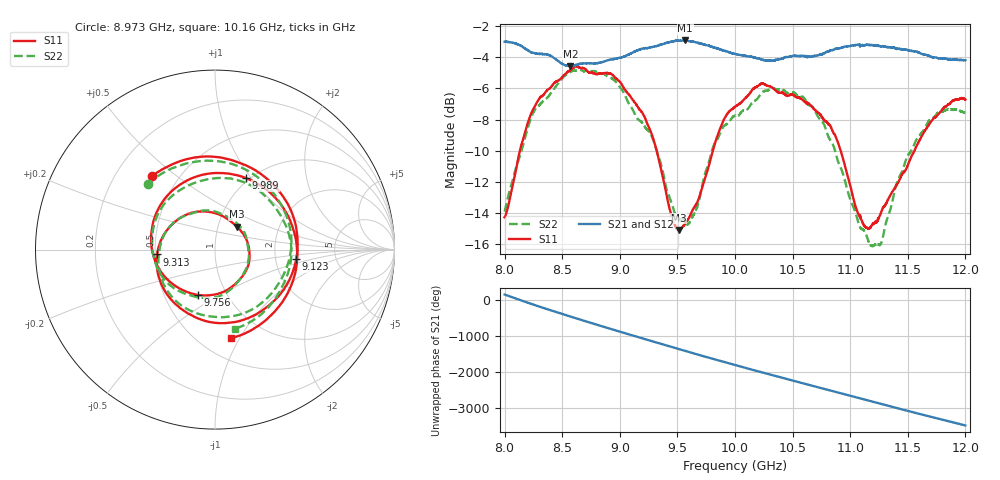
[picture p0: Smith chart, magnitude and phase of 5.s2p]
!Agilent Technologies,E8362C,MY49020356,A.09.42.23
!Agilent E8362C: A.09.42.23
!Date: Wednesday, December 03, 2025 18:15:46
!Correction: S11(Full 2 Port(1,2))
!S21(Full 2 Port(1,2))
!S12(Full 2 Port(1,2))
!S22(Full 2 Port(1,2))
!S2P File: Measurements: S11, S21, S12, S22:
# Hz S  dB  R 50
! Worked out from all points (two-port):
!   6401 points, 8 GHz to 12 GHz, reference 50 ohm
!   highest |S21| = -2.91 dB at 9.568 GHz (marker M1); lowest = -4.6 dB at 8.571 GHz (marker M2)
!   |S21| within 3 dB of the highest: start of sweep to end of sweep
!   lowest |S11| = -15.1 dB at 9.511 GHz (marker M3), VSWR 1.43, Z = 61.5 + j16.2 ohm
!   |S11| at or under -10 dB: start of sweep to 8.133 GHz; 9.32 GHz to 9.808 GHz (487.3 MHz wide, 5.1 % of centre); 10.92 GHz to 11.56 GHz (640.4 MHz wide, 5.7 % of centre)
!   |S22| runs from -16.1 to -4.8 dB; largest |S21 - S12| = 0.015
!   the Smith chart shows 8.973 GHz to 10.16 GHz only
!   S11 on the Smith chart (normalised r, x): 8.973 GHz: 0.36, +0.41; 9.123 GHz: 2.62, -0.35; 9.313 GHz: 0.51, -0.03; 9.756 GHz: 0.74, -0.40; 9.989 GHz: 0.96, +0.94; 10.16 GHz: 0.70, -0.92
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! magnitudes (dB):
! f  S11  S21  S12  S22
! 8 GHz  -14.3  -3.0  -3.0  -13.9
! 8.237 GHz  -7.5  -3.7  -3.6  -7.7
! 8.571 GHz  -4.8  -4.6  -4.6  -4.9
! 8.667 GHz  -4.7  -4.4  -4.4  -4.8
! 8.973 GHz  -5.4  -4.1  -4.1  -5.6
! 9.123 GHz  -6.8  -3.7  -3.7  -7.5
! 9.313 GHz  -9.8  -3.3  -3.3  -9.8
! 9.334 GHz  -10.4  -3.2  -3.3  -10.4
! 9.511 GHz  -15.1  -2.9  -3.0  -14.4
! 9.568 GHz  -14.7  -2.9  -2.9  -14.6
! 9.756 GHz  -11.4  -3.2  -3.3  -11.1
! 9.989 GHz  -7.2  -3.8  -3.8  -7.8
! 10 GHz  -7.2  -3.8  -3.8  -7.8
! 10.16 GHz  -6.0  -4.0  -4.0  -6.8
! 10.33 GHz  -6.0  -4.2  -4.3  -6.0
! 10.67 GHz  -7.2  -3.9  -4.0  -7.1
! 10.88 GHz  -9.2  -3.4  -3.5  -10.3
! 11.13 GHz  -14.9  -3.2  -3.3  -15.2
! 11.26 GHz  -14.2  -3.3  -3.3  -16.1
! 11.33 GHz  -13.0  -3.3  -3.4  -14.1
! 11.68 GHz  -8.4  -3.9  -4.0  -8.1
! 12 GHz  -6.7  -4.2  -4.2  -7.6
